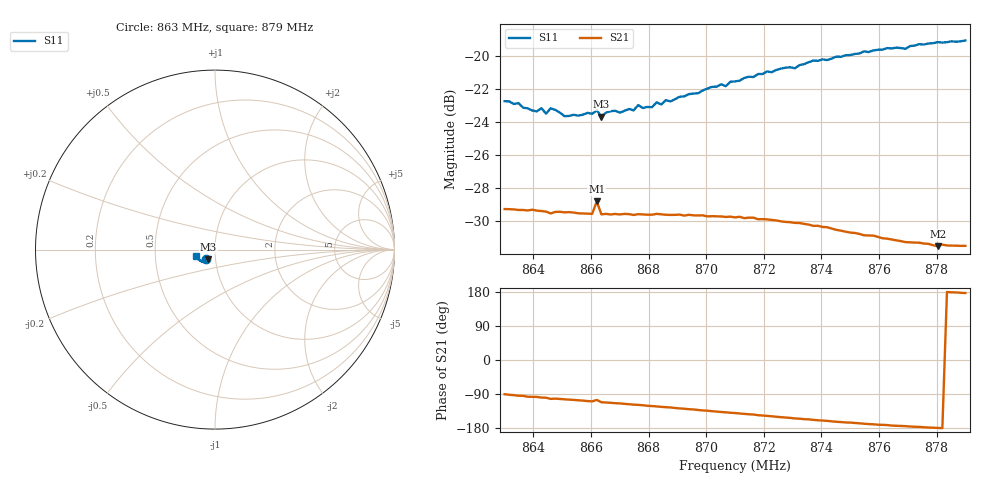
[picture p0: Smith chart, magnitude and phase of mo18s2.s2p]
# HZ S RI R 50
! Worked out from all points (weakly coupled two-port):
!   101 points, 863 MHz to 879 MHz, reference 50 ohm
!   highest |S21| = -28.80 dB at 866.2 MHz (marker M1); lowest = -31.5 dB at 878.04 MHz (marker M2)
!   lowest |S11| = -23.7 dB at 866.36 MHz (marker M3), VSWR 1.14, Z = 46.1 - j4.98 ohm
!   |S11| at or under -10 dB: start of sweep to end of sweep
!   S12 and S22 are empty: the file has one direction only
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8.63e8  -0.0493 -0.0539  -0.000184 -0.0345  0 0  0 0
8.6412e8  -0.0449 -0.0511  -0.00441 -0.0338  0 0  0 0
8.6428e8  -0.0443 -0.0536  -0.00536 -0.0336  0 0  0 0
8.6444e8  -0.0429 -0.0514  -0.00564 -0.0334  0 0  0 0
8.646e8  -0.0445 -0.0534  -0.00732 -0.0326  0 0  0 0
8.6508e8  -0.0396 -0.0525  -0.00804 -0.0327  0 0  0 0
8.6572e8  -0.0389 -0.0539  -0.00988 -0.0319  0 0  0 0
8.6604e8  -0.0402 -0.0534  -0.0109 -0.0315  0 0  0 0
8.662e8  -0.0331 -0.06  -0.00965 -0.035  0 0  0 0
8.6636e8  -0.0376 -0.0538  -0.0121 -0.0309  0 0  0 0
8.6668e8  -0.0395 -0.0555  -0.0129 -0.0305  0 0  0 0
8.6748e8  -0.0382 -0.0569  -0.0154 -0.0292  0 0  0 0
8.6764e8  -0.04 -0.0588  -0.0158 -0.0292  0 0  0 0
8.678e8  -0.0387 -0.0579  -0.0163 -0.0289  0 0  0 0
8.6812e8  -0.0391 -0.0581  -0.0173 -0.0282  0 0  0 0
8.6828e8  -0.0395 -0.0607  -0.0179 -0.0281  0 0  0 0
8.6844e8  -0.038 -0.0604  -0.0184 -0.0277  0 0  0 0
8.71e8  -0.0492 -0.0678  -0.0249 -0.0209  0 0  0 0
8.7372e8  -0.068 -0.0691  -0.0284 -0.0115  0 0  0 0
8.7644e8  -0.0896 -0.0556  -0.0277 -0.00338  0 0  0 0
8.7804e8  -0.1005 -0.0451  -0.0266 -0.000384  0 0  0 0
8.79e8  -0.106 -0.0344  -0.0266 0.00153  0 0  0 0
